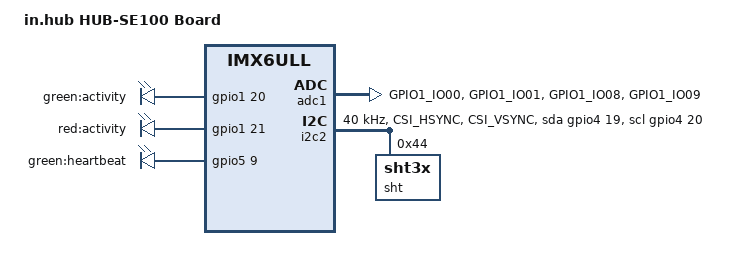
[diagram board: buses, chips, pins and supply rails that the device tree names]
// SPDX-License-Identifier: GPL-2.0-only
/*
 * Copyright 2025 in.hub GmbH
 */

/dts-v1/;

#include "imx6ull-inhub-emmc.dtsi"
#include "imx6ull-inhub-lan8831.dtsi"

/ {
	model = "in.hub HUB-SE100 Board";
	compatible = "inhub,hub-se100", "fsl,imx6ull";

	leds {
		compatible = "gpio-leds";
		pinctrl-names = "default";
		pinctrl-0 = <&pinctrl_leds>;

		led_green_activity: green-activity {
			label = "green:activity";
			gpios = <&gpio1 20 0x0>;
			default-state = "off";
		};

		led_red_activity: red-activity {
			label = "red:activity";
			gpios = <&gpio1 21 0x0>;
			default-state = "off";
		};

		led_green_heartbeat: green-heartbeat {
			label = "green:heartbeat";
			gpios = <&gpio5 9 0x0>;
			linux,default-trigger = "timer";
		};
	};
};

&iomuxc {
	pinctrl-0 = <&pinctrl_gpio3 &pinctrl_gpio_din>;

	/delete-node/ adc1grp;

	pinctrl_leds: ledsgrp {
		fsl,pins = <
			MX6UL_PAD_SNVS_TAMPER9__GPIO5_IO09	0x74 /* SODIMM 138 - LED1G */
			MX6UL_PAD_UART2_TX_DATA__GPIO1_IO20 0x74 /* SODIMM 36 - LED2G */
			MX6UL_PAD_UART2_RX_DATA__GPIO1_IO21 0x74 /* SODIMM 38 - LED2R */
		>;
	};

	pinctrl_i2c2: i2c2grp {
		fsl,pins = <
			MX6UL_PAD_CSI_HSYNC__I2C2_SCL	0x4001f8b0
			MX6UL_PAD_CSI_VSYNC__I2C2_SDA	0x4001f8b0
		>;
	};

	pinctrl_i2c2_gpio: i2c2gpiogrp {
		fsl,pins = <
			MX6UL_PAD_CSI_HSYNC__GPIO4_IO20	0x4001f8b0
			MX6UL_PAD_CSI_VSYNC__GPIO4_IO19	0x4001f8b0
		>;
	};

	pinctrl_gpio_din: dingrp {
		fsl,pins = <
			MX6UL_PAD_UART2_RTS_B__GPIO1_IO23	0xf0b0 /* SODIMM 34 - DIN */
		>;
	};

	pinctrl_adc1_nopd: adc1nopdgrp {
		fsl,pins = <
			MX6UL_PAD_GPIO1_IO00__GPIO1_IO00	0x00 /* SODIMM 8 - ADCx_IN0 */
			MX6UL_PAD_GPIO1_IO01__GPIO1_IO01	0x00 /* SODIMM 6 - ADCx_IN1 */
			MX6UL_PAD_GPIO1_IO08__GPIO1_IO08	0x00 /* SODIMM 4 - ADCx_IN8 */
			MX6UL_PAD_GPIO1_IO09__GPIO1_IO09	0x00 /* SODIMM 2 - ADCx_IN9 */
		>;
	};
};

&adc1 {
	status = "okay";
	pinctrl-0 = <&pinctrl_adc1_nopd>;
};

&fec2 {
	status = "disabled";
};

&gpio1 {
	gpio-line-names = "",
			  "",
			  "",
			  "",
			  "",
			  "",
			  "",
			  "",
			  "",
			  "",
			  "",
			  "",
			  "",
			  "",
			  "",
			  "",
			  "",
			  "",
			  "",
			  "",
			  "",
			  "",
			  "",
			  "DIN";
};

&i2c2 {
	status = "okay";
	clock-frequency = <40000>;
	pinctrl-names = "default", "gpio";
	pinctrl-0 = <&pinctrl_i2c2>;
	pinctrl-1 = <&pinctrl_i2c2_gpio>;
	sda-gpios = <&gpio4 19 (GPIO_ACTIVE_HIGH | GPIO_OPEN_DRAIN)>;
	scl-gpios = <&gpio4 20 (GPIO_ACTIVE_HIGH | GPIO_OPEN_DRAIN)>;

	sht@44 {
		compatible = "sht3x";
		reg = <0x44>;
	};
};

&reg_usbh_vbus {
	/delete-property/ enable-active-high;
};

